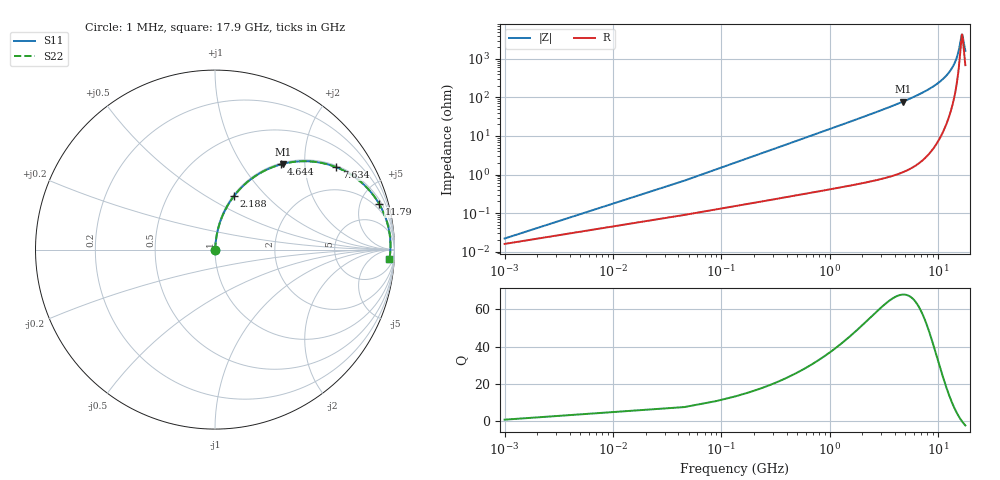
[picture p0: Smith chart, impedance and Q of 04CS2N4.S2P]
! Coilcraft 0402CS-2N4 Chip Inductor
! 22 July 2002
# MHZ S MA R 50
!Freq  MagS11  AngS11  MagS21  AngS21  MagS12  AngS12  MagS22  AngS22
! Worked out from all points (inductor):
!   402 points, 1 MHz to 17.9 GHz, reference 50 ohm
!   read as one part in series: L = 2.4 nH near 90.28 MHz
!   highest Q = 67.8 at 4.733 GHz (marker M1), where L = 2.61 nH
!   self-resonance near 16.69 GHz
!   S11 on the Smith chart (normalised r, x): 1 MHz: 1.00, +0.00; 2.188 GHz: 1.01, +0.67; 4.644 GHz: 1.02, +1.52; 7.634 GHz: 1.05, +2.91; 11.79 GHz: 1.37, +7.08; 17.9 GHz: 15, -30
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1  0.0002184 43.7  0.9998 -0.0  0.9998 -0.0  0.0002184 43.7
134.92  0.02037 84.6  0.9983 -1.2  0.9983 -1.2  0.02037 84.6
224.2  0.03379 84.8  0.9975 -1.9  0.9975 -1.9  0.03379 84.8
402.76  0.06056 84.1  0.9956 -3.5  0.9956 -3.5  0.06056 84.1
670.6  0.1005 82.3  0.9916 -5.8  0.9916 -5.8  0.1005 82.3
1072.36  0.1597 79.3  0.983 -9.2  0.983 -9.2  0.1597 79.3
2188.36  0.3166 70.5  0.9427 -18.5  0.9427 -18.5  0.3166 70.5
2991.88  0.4199 64.2  0.9007 -24.8  0.9007 -24.8  0.4199 64.2
4643.56  0.6004 52.3  0.7909 -36.9  0.7909 -36.9  0.6004 52.3
4732.84  0.6089 51.7  0.7843 -37.5  0.7843 -37.5  0.6089 51.7
5982.76  0.7139 43.6  0.6894 -45.5  0.6894 -45.5  0.7139 43.6
7634.44  0.8174 34.1  0.5611 -54.8  0.5611 -54.8  0.8174 34.1
8973.64  0.8768 27.4  0.4603 -61.2  0.4603 -61.2  0.8768 27.4
11785.96  0.9496 15.5  0.2678 -71.5  0.2678 -71.5  0.9496 15.5
11964.52  0.9524 14.8  0.2566 -72.0  0.2566 -72.0  0.9524 14.8
13705.48  0.9714 8.8  0.1536 -74.9  0.1536 -74.9  0.9714 8.8
14955.4  0.9772 4.9  0.08723 -72.4  0.08723 -72.4  0.9772 4.9
15669.64  0.9782 2.8  0.053 -64.4  0.053 -64.4  0.9782 2.8
16428.52  0.9778 0.7  0.02523 -28.0  0.02523 -28.0  0.9778 0.7
16651.72  0.9774 0.1  0.02265 -4.1  0.02265 -4.1  0.9774 0.1
16874.92  0.9769 -0.5  0.02463 20.0  0.02463 20.0  0.9769 -0.5
17900  0.9732 -3.1  0.05975 61.8  0.05975 61.8  0.9732 -3.1
